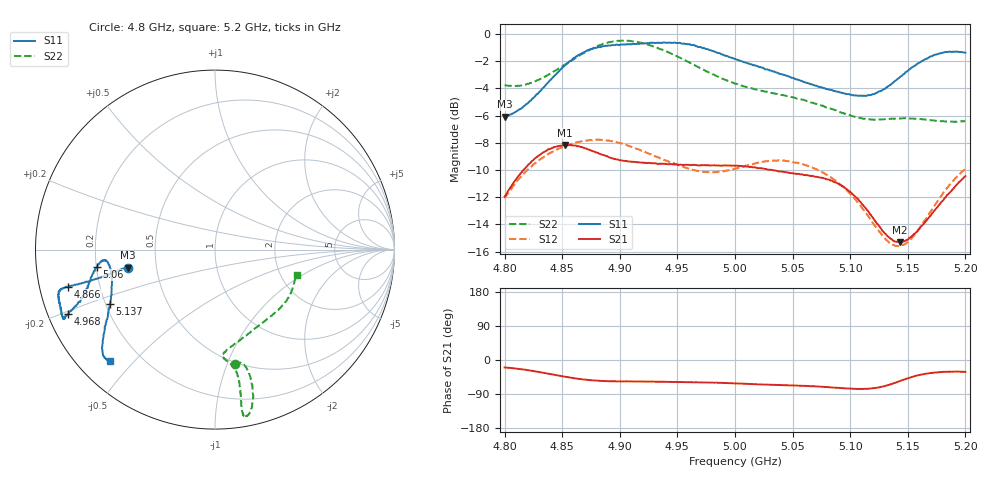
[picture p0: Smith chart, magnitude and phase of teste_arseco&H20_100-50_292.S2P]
! Network Analyzer HP8722D
! Hewlett-Packard
! Data name: Linha & Wilkinson
! Saver's name: Rodrigo Anjos
! Comments: Teste da utilização de aquisição
! continua pelo VNA HP8722D
! Time and date: 6/5/2025 15:00
!  Frequency  S11  S21  S12  S22
# HZ  S  MA R 50
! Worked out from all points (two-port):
!   401 points, 4.8 GHz to 5.2 GHz, reference 50 ohm
!   highest |S21| = -8.16 dB at 4.852 GHz (marker M1); lowest = -15.3 dB at 5.143 GHz (marker M2)
!   |S21| within 3 dB of the highest: 4.806 GHz to 5.092 GHz (286.4 MHz wide, 5.79 % of centre); 5.191637 GHz to end of sweep
!   lowest |S11| = -6.1 dB at 4.8 GHz (marker M3), VSWR 2.97, Z = 17 - j4.58 ohm
!   |S11| at or under -10 dB: nowhere
!   |S22| runs from -6.5 to -0.5 dB; largest |S21 - S12| = 0.62
!   S11 on the Smith chart (normalised r, x): 4.8 GHz: 0.34, -0.09; 4.866 GHz: 0.09, -0.12; 4.968 GHz: 0.06, -0.21; 5.06 GHz: 0.20, -0.07; 5.137 GHz: 0.22, -0.23; 5.2 GHz: 0.09, -0.43
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4.8e9  0.4965 -168.2  0.2522 -19.7  0.2486 -140.9  0.6476 -80.3
4.826e9  0.5874 -167.2  0.3478 -29.5  0.3337 -144.5  0.6685 -75.6
4.852e9  0.7632 -165.9  0.3908 -43.8  0.3866 -149.3  0.769 -74.5
4.866e9  0.8424 -165.9  0.3838 -50.3  0.402 -151.9  0.839 -75.3
4.867e9  0.849 -165.9  0.384 -50.8  0.403 -152.0  0.8433 -75.4
4.886e9  0.9014 -164.8  0.3583 -55.4  0.4076 -155.2  0.9214 -77.5
4.903e9  0.9142 -161.9  0.3416 -56.4  0.3946 -156.8  0.9448 -79.5
4.934e9  0.9282 -156.3  0.3327 -57.4  0.3512 -155.7  0.8829 -80.5
4.968e9  0.8955 -156.3  0.3287 -59.0  0.3137 -147.5  0.7553 -79.6
5e9  0.8085 -158.9  0.3273 -61.7  0.3194 -137.2  0.6565 -81.2
5.036e9  0.7212 -165.6  0.3137 -65.9  0.3417 -134.4  0.6018 -85.6
5.06e9  0.6644 -171.6  0.3028 -68.2  0.3304 -136.2  0.5711 -84.1
5.067e9  0.6519 -173.0  0.3009 -69.0  0.323 -136.7  0.5586 -82.6
5.084e9  0.622 -174.6  0.2892 -72.3  0.2951 -138.4  0.5288 -76.3
5.1e9  0.5974 -172.2  0.2626 -75.5  0.2583 -138.8  0.5028 -67.1
5.117e9  0.595 -164.9  0.2179 -75.4  0.2096 -135.0  0.4849 -55.1
5.134e9  0.6461 -154.3  0.1784 -65.3  0.1707 -120.7  0.4867 -43.3
5.137e9  0.6601 -152.5  0.1741 -62.2  0.1678 -116.9  0.4884 -41.5
5.143e9  0.6919 -149.3  0.1714 -55.6  0.1659 -108.9  0.4882 -38.0
5.154e9  0.7553 -144.5  0.181 -44.5  0.1792 -95.0  0.4881 -32.4
5.174e9  0.8391 -138.4  0.2269 -32.8  0.2365 -80.4  0.4793 -23.9
5.2e9  0.8528 -133.5  0.3001 -31.3  0.3188 -76.8  0.4776 -17.5
